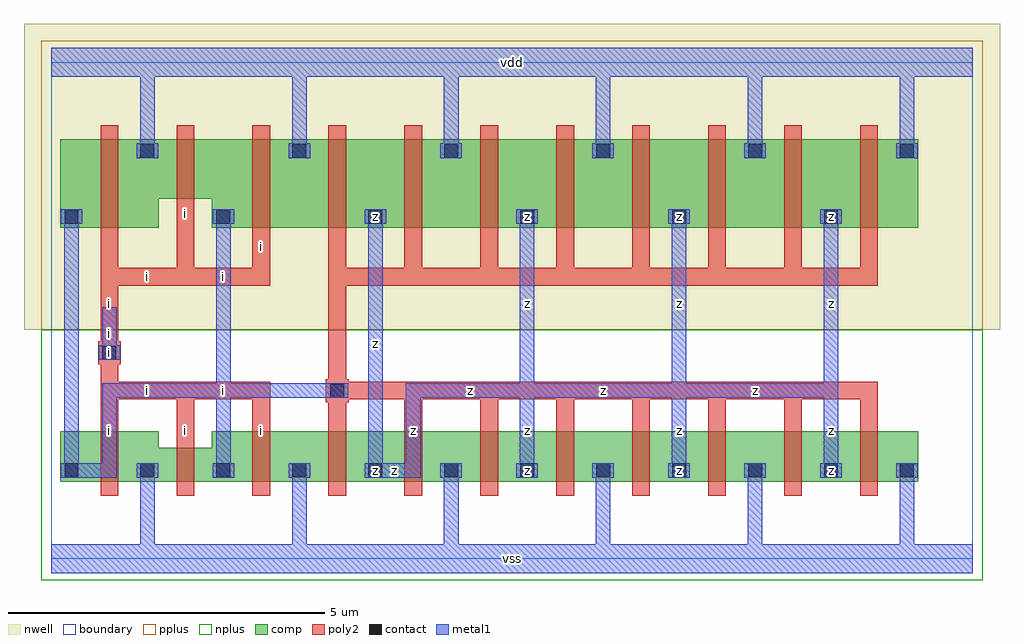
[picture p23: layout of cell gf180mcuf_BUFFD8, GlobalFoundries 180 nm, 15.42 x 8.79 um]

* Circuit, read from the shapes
.subckt gf180mcuf_BUFFD8 i vdd vss z
XM1 vss i n1 VSUBS nfet_03v3 w=0.8u l=0.28u m=2
XM2 n1 i vss VSUBS nfet_03v3 w=0.54u l=0.28u
XM3 z n1 vss VSUBS nfet_03v3 w=0.8u l=0.28u m=8
XM4 vdd i n1 n2 pfet_03v3 w=1.4u l=0.28u m=2
XM5 n1 i vdd n2 pfet_03v3 w=0.935u l=0.28u
XM6 z n1 vdd n2 pfet_03v3 w=1.4u l=0.28u m=8
.ends

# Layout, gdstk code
import gdstk
lib = gdstk.Library(unit=1e-6, precision=1e-09)
def R(c, l, rs):  # rectangles x0, y0, x1, y1
    for r in rs: c.add(gdstk.rectangle(r[:2], r[2:], *l))
def A(c, l, x, y, w, h, nx, ny, dx, dy):  # array of equal rectangles
    R(c, l, [(x+i*dx, y+j*dy, x+i*dx+w, y+j*dy+h) for i in range(nx) for j in range(ny)])
boundary = (0, 0)
nwell = (21, 0)
comp = (22, 0)
poly2 = (30, 0)
pplus = (31, 0)
nplus = (32, 0)
contact = (33, 0)
metal1 = (34, 0)

gf180mcuf_buffd8 = lib.new_cell('gf180mcuf_BUFFD8')
R(gf180mcuf_buffd8, boundary, [(0,0,14.56,7.84)])
R(gf180mcuf_buffd8, nwell, [(-0.43,3.62,14.99,8.45)])
A(gf180mcuf_buffd8, comp, 0.14, 1.215, 0.36, 0.36, 12, 1, 1.2, 0)
A(gf180mcuf_buffd8, comp, 2.54, 1.215, 1.56, 0.8, 9, 1, 1.2, 0)
A(gf180mcuf_buffd8, comp, 0.14, 5.225, 0.36, 0.36, 6, 1, 2.4, 0)
A(gf180mcuf_buffd8, comp, 2.54, 5.225, 1.56, 1.4, 9, 1, 1.2, 0)
A(gf180mcuf_buffd8, comp, 1.34, 6.265, 0.36, 0.36, 6, 1, 2.4, 0)
R(gf180mcuf_buffd8, comp, [(0.14,1.215,1.7,2.015), (1.34,1.215,2.9,1.755), (0.14,5.225,1.7,6.625), (1.34,5.69,2.9,6.625)])
A(gf180mcuf_buffd8, poly2, 3.18, 0.995, 0.28, 1.24, 9, 1, 1.2, 0)
A(gf180mcuf_buffd8, poly2, 0.78, 1.255, 0.28, 1.54, 11, 1, 1.2, 0)
A(gf180mcuf_buffd8, poly2, 4.38, 2.515, 1.48, 0.28, 7, 2, 1.2, 1.8)
A(gf180mcuf_buffd8, poly2, 5.58, 4.315, 0.28, 1.23, 7, 1, 1.2, 0)
A(gf180mcuf_buffd8, poly2, 3.18, 5.005, 0.28, 1.84, 9, 1, 1.2, 0)
R(gf180mcuf_buffd8, poly2, [(0.78,0.995,1.06,2.235), (1.98,0.995,2.26,1.975), (4.34,2.475,4.7,2.835), (0.78,2.515,2.26,2.795), (0.78,2.515,1.06,5.545), (1.98,2.515,3.46,2.795), (4.38,2.515,4.66,5.545), (0.74,3.075,1.1,3.435), (0.78,4.315,2.26,4.595), (1.98,4.315,3.46,4.595), (1.98,4.315,2.26,6.585), (3.18,4.315,3.46,5.545), (0.78,5.005,1.06,6.845), (1.98,5.47,2.26,6.845)])
R(gf180mcuf_buffd8, pplus, [(-0.16,3.62,14.72,7.5), (-0.16,7.5,14.72,8.18)])
R(gf180mcuf_buffd8, nplus, [(-0.16,-0.34,14.72,0.34), (-0.16,0.34,14.72,3.62)])
A(gf180mcuf_buffd8, contact, 0.21, 1.285, 0.22, 0.22, 12, 1, 1.2, 0)
A(gf180mcuf_buffd8, contact, 0.21, 5.295, 0.22, 0.22, 6, 1, 2.4, 0)
A(gf180mcuf_buffd8, contact, 1.41, 6.335, 0.22, 0.22, 6, 1, 2.4, 0)
R(gf180mcuf_buffd8, contact, [(4.41,2.545,4.63,2.765), (0.81,3.145,1.03,3.365)])
A(gf180mcuf_buffd8, metal1, 1.405, 0.065, 0.23, 1.445, 6, 2, 2.4, 6.265)
A(gf180mcuf_buffd8, metal1, 0.15, 1.28, 0.34, 0.23, 12, 1, 1.2, 0)
A(gf180mcuf_buffd8, metal1, 7.405, 1.28, 0.23, 1.49, 3, 1, 2.4, 0)
A(gf180mcuf_buffd8, metal1, 7.405, 2.54, 0.23, 2.98, 3, 1, 2.4, 0)
A(gf180mcuf_buffd8, metal1, 0.15, 5.29, 0.34, 0.23, 6, 1, 2.4, 0)
A(gf180mcuf_buffd8, metal1, 1.35, 6.33, 0.34, 0.23, 6, 1, 2.4, 0)
R(gf180mcuf_buffd8, metal1, [(0,-0.23,14.56,0.23), (0.205,1.28,1.035,1.51), (0.205,1.28,0.435,5.52), (0.805,1.28,1.035,2.77), (2.605,1.28,2.835,2.77), (5.005,1.28,5.835,1.51), (5.005,1.28,5.235,5.52), (5.605,1.28,5.835,2.77), (0.805,2.54,2.835,2.77), (2.605,2.54,4.635,2.77), (2.605,2.54,2.835,5.52), (4.35,2.54,4.69,2.77), (5.605,2.54,7.635,2.77), (7.405,2.54,10.035,2.77), (9.805,2.54,12.435,2.77), (0.75,3.14,1.09,3.37), (0.805,3.14,1.035,3.97), (0,7.61,14.56,8.07)])
gf180mcuf_buffd8.add(gdstk.FlexPath([(0.14,0.575),(13.7,0.575)], 0, ends="flush", simple_path=True, layer=0, datatype=0))  # boundary
gf180mcuf_buffd8.add(gdstk.FlexPath([(0.14,1.395),(13.7,1.395)], 0, ends="flush", simple_path=True, layer=0, datatype=0))  # boundary
gf180mcuf_buffd8.add(gdstk.FlexPath([(0.14,2.655),(13.7,2.655)], 0, ends="flush", simple_path=True, layer=0, datatype=0))  # boundary
gf180mcuf_buffd8.add(gdstk.FlexPath([(0.14,3.255),(13.7,3.255)], 0, ends="flush", simple_path=True, layer=0, datatype=0))  # boundary
gf180mcuf_buffd8.add(gdstk.FlexPath([(0.14,3.855),(13.7,3.855)], 0, ends="flush", simple_path=True, layer=0, datatype=0))  # boundary
gf180mcuf_buffd8.add(gdstk.FlexPath([(0.14,4.455),(13.7,4.455)], 0, ends="flush", simple_path=True, layer=0, datatype=0))  # boundary
gf180mcuf_buffd8.add(gdstk.FlexPath([(0.14,5.405),(13.7,5.405)], 0, ends="flush", simple_path=True, layer=0, datatype=0))  # boundary
gf180mcuf_buffd8.add(gdstk.FlexPath([(0.14,6.445),(13.7,6.445)], 0, ends="flush", simple_path=True, layer=0, datatype=0))  # boundary
gf180mcuf_buffd8.add(gdstk.FlexPath([(0.14,7.265),(13.7,7.265)], 0, ends="flush", simple_path=True, layer=0, datatype=0))  # boundary
gf180mcuf_buffd8.add(gdstk.FlexPath([(0.32,0.065),(0.32,7.775)], 0, ends="flush", simple_path=True, layer=0, datatype=0))  # boundary
gf180mcuf_buffd8.add(gdstk.FlexPath([(0.92,0.065),(0.92,7.775)], 0, ends="flush", simple_path=True, layer=0, datatype=0))  # boundary
gf180mcuf_buffd8.add(gdstk.FlexPath([(1.52,0.065),(1.52,7.775)], 0, ends="flush", simple_path=True, layer=0, datatype=0))  # boundary
gf180mcuf_buffd8.add(gdstk.FlexPath([(2.12,0.065),(2.12,7.775)], 0, ends="flush", simple_path=True, layer=0, datatype=0))  # boundary
gf180mcuf_buffd8.add(gdstk.FlexPath([(2.72,0.065),(2.72,7.775)], 0, ends="flush", simple_path=True, layer=0, datatype=0))  # boundary
gf180mcuf_buffd8.add(gdstk.FlexPath([(3.32,0.065),(3.32,7.775)], 0, ends="flush", simple_path=True, layer=0, datatype=0))  # boundary
gf180mcuf_buffd8.add(gdstk.FlexPath([(3.92,0.065),(3.92,7.775)], 0, ends="flush", simple_path=True, layer=0, datatype=0))  # boundary
gf180mcuf_buffd8.add(gdstk.FlexPath([(4.52,0.065),(4.52,7.775)], 0, ends="flush", simple_path=True, layer=0, datatype=0))  # boundary
gf180mcuf_buffd8.add(gdstk.FlexPath([(5.12,0.065),(5.12,7.775)], 0, ends="flush", simple_path=True, layer=0, datatype=0))  # boundary
gf180mcuf_buffd8.add(gdstk.FlexPath([(5.72,0.065),(5.72,7.775)], 0, ends="flush", simple_path=True, layer=0, datatype=0))  # boundary
gf180mcuf_buffd8.add(gdstk.FlexPath([(6.32,0.065),(6.32,7.775)], 0, ends="flush", simple_path=True, layer=0, datatype=0))  # boundary
gf180mcuf_buffd8.add(gdstk.FlexPath([(6.92,0.065),(6.92,7.775)], 0, ends="flush", simple_path=True, layer=0, datatype=0))  # boundary
gf180mcuf_buffd8.add(gdstk.FlexPath([(7.52,0.065),(7.52,7.775)], 0, ends="flush", simple_path=True, layer=0, datatype=0))  # boundary
gf180mcuf_buffd8.add(gdstk.FlexPath([(8.12,0.065),(8.12,7.775)], 0, ends="flush", simple_path=True, layer=0, datatype=0))  # boundary
gf180mcuf_buffd8.add(gdstk.FlexPath([(8.72,0.065),(8.72,7.775)], 0, ends="flush", simple_path=True, layer=0, datatype=0))  # boundary
gf180mcuf_buffd8.add(gdstk.FlexPath([(9.32,0.065),(9.32,7.775)], 0, ends="flush", simple_path=True, layer=0, datatype=0))  # boundary
gf180mcuf_buffd8.add(gdstk.FlexPath([(9.92,0.065),(9.92,7.775)], 0, ends="flush", simple_path=True, layer=0, datatype=0))  # boundary
gf180mcuf_buffd8.add(gdstk.FlexPath([(10.52,0.065),(10.52,7.775)], 0, ends="flush", simple_path=True, layer=0, datatype=0))  # boundary
gf180mcuf_buffd8.add(gdstk.FlexPath([(11.12,0.065),(11.12,7.775)], 0, ends="flush", simple_path=True, layer=0, datatype=0))  # boundary
gf180mcuf_buffd8.add(gdstk.FlexPath([(11.72,0.065),(11.72,7.775)], 0, ends="flush", simple_path=True, layer=0, datatype=0))  # boundary
gf180mcuf_buffd8.add(gdstk.FlexPath([(12.32,0.065),(12.32,7.775)], 0, ends="flush", simple_path=True, layer=0, datatype=0))  # boundary
gf180mcuf_buffd8.add(gdstk.FlexPath([(12.92,0.065),(12.92,7.775)], 0, ends="flush", simple_path=True, layer=0, datatype=0))  # boundary
gf180mcuf_buffd8.add(gdstk.FlexPath([(13.52,0.065),(13.52,7.775)], 0, ends="flush", simple_path=True, layer=0, datatype=0))  # boundary
gf180mcuf_buffd8.add(gdstk.Label('z', (5.12,1.395), layer=22, texttype=0))
gf180mcuf_buffd8.add(gdstk.Label('z', (7.52,1.395), layer=22, texttype=0))
gf180mcuf_buffd8.add(gdstk.Label('z', (9.92,1.395), layer=22, texttype=0))
gf180mcuf_buffd8.add(gdstk.Label('z', (12.32,1.395), layer=22, texttype=0))
gf180mcuf_buffd8.add(gdstk.Label('z', (5.12,5.405), layer=22, texttype=0))
gf180mcuf_buffd8.add(gdstk.Label('z', (7.52,5.405), layer=22, texttype=0))
gf180mcuf_buffd8.add(gdstk.Label('z', (9.92,5.405), layer=22, texttype=0))
gf180mcuf_buffd8.add(gdstk.Label('z', (12.32,5.405), layer=22, texttype=0))
gf180mcuf_buffd8.add(gdstk.Label('i', (0.92,2.025), layer=30, texttype=0))
gf180mcuf_buffd8.add(gdstk.Label('i', (1.52,2.655), layer=30, texttype=0))
gf180mcuf_buffd8.add(gdstk.Label('i', (2.12,2.025), layer=30, texttype=0))
gf180mcuf_buffd8.add(gdstk.Label('i', (2.72,2.655), layer=30, texttype=0))
gf180mcuf_buffd8.add(gdstk.Label('i', (3.32,2.025), layer=30, texttype=0))
gf180mcuf_buffd8.add(gdstk.Label('i', (0.92,4.03), layer=30, texttype=0))
gf180mcuf_buffd8.add(gdstk.Label('i', (1.52,4.455), layer=30, texttype=0))
gf180mcuf_buffd8.add(gdstk.Label('i', (2.12,5.45), layer=30, texttype=0))
gf180mcuf_buffd8.add(gdstk.Label('i', (2.72,4.455), layer=30, texttype=0))
gf180mcuf_buffd8.add(gdstk.Label('i', (3.32,4.93), layer=30, texttype=0))
gf180mcuf_buffd8.add(gdstk.Label('i', (0.92,3.255), layer=30, texttype=0))
gf180mcuf_buffd8.add(gdstk.Label('i', (0.92,3.255), layer=33, texttype=0))
gf180mcuf_buffd8.add(gdstk.Label('z', (5.12,1.395), layer=33, texttype=0))
gf180mcuf_buffd8.add(gdstk.Label('z', (7.52,1.395), layer=33, texttype=0))
gf180mcuf_buffd8.add(gdstk.Label('z', (9.92,1.395), layer=33, texttype=0))
gf180mcuf_buffd8.add(gdstk.Label('z', (12.32,1.395), layer=33, texttype=0))
gf180mcuf_buffd8.add(gdstk.Label('z', (5.12,5.405), layer=33, texttype=0))
gf180mcuf_buffd8.add(gdstk.Label('z', (7.52,5.405), layer=33, texttype=0))
gf180mcuf_buffd8.add(gdstk.Label('z', (9.92,5.405), layer=33, texttype=0))
gf180mcuf_buffd8.add(gdstk.Label('z', (12.32,5.405), layer=33, texttype=0))
gf180mcuf_buffd8.add(gdstk.Label('i', (0.92,3.255), layer=34, texttype=10))
gf180mcuf_buffd8.add(gdstk.Label('i', (0.92,3.555), layer=34, texttype=10))
gf180mcuf_buffd8.add(gdstk.Label('z', (5.12,1.395), layer=34, texttype=10))
gf180mcuf_buffd8.add(gdstk.Label('z', (7.52,1.395), layer=34, texttype=10))
gf180mcuf_buffd8.add(gdstk.Label('z', (9.92,1.395), layer=34, texttype=10))
gf180mcuf_buffd8.add(gdstk.Label('z', (12.32,1.395), layer=34, texttype=10))
gf180mcuf_buffd8.add(gdstk.Label('z', (5.12,5.405), layer=34, texttype=10))
gf180mcuf_buffd8.add(gdstk.Label('z', (7.52,5.405), layer=34, texttype=10))
gf180mcuf_buffd8.add(gdstk.Label('z', (9.92,5.405), layer=34, texttype=10))
gf180mcuf_buffd8.add(gdstk.Label('z', (12.32,5.405), layer=34, texttype=10))
gf180mcuf_buffd8.add(gdstk.Label('z', (5.42,1.395), layer=34, texttype=10))
gf180mcuf_buffd8.add(gdstk.Label('z', (5.72,2.025), layer=34, texttype=10))
gf180mcuf_buffd8.add(gdstk.Label('z', (6.62,2.655), layer=34, texttype=10))
gf180mcuf_buffd8.add(gdstk.Label('z', (7.52,2.025), layer=34, texttype=10))
gf180mcuf_buffd8.add(gdstk.Label('z', (8.72,2.655), layer=34, texttype=10))
gf180mcuf_buffd8.add(gdstk.Label('z', (9.92,2.025), layer=34, texttype=10))
gf180mcuf_buffd8.add(gdstk.Label('z', (11.12,2.655), layer=34, texttype=10))
gf180mcuf_buffd8.add(gdstk.Label('z', (12.32,2.025), layer=34, texttype=10))
gf180mcuf_buffd8.add(gdstk.Label('z', (5.12,3.4), layer=34, texttype=10))
gf180mcuf_buffd8.add(gdstk.Label('z', (7.52,4.03), layer=34, texttype=10))
gf180mcuf_buffd8.add(gdstk.Label('z', (9.92,4.03), layer=34, texttype=10))
gf180mcuf_buffd8.add(gdstk.Label('z', (12.32,4.03), layer=34, texttype=10))
gf180mcuf_buffd8.add(gdstk.Label('vss', (7.28,0), layer=34, texttype=10))
gf180mcuf_buffd8.add(gdstk.Label('vdd', (7.28,7.84), layer=34, texttype=10))

lib.write_gds('gf180mcuf_BUFFD8.gds')
